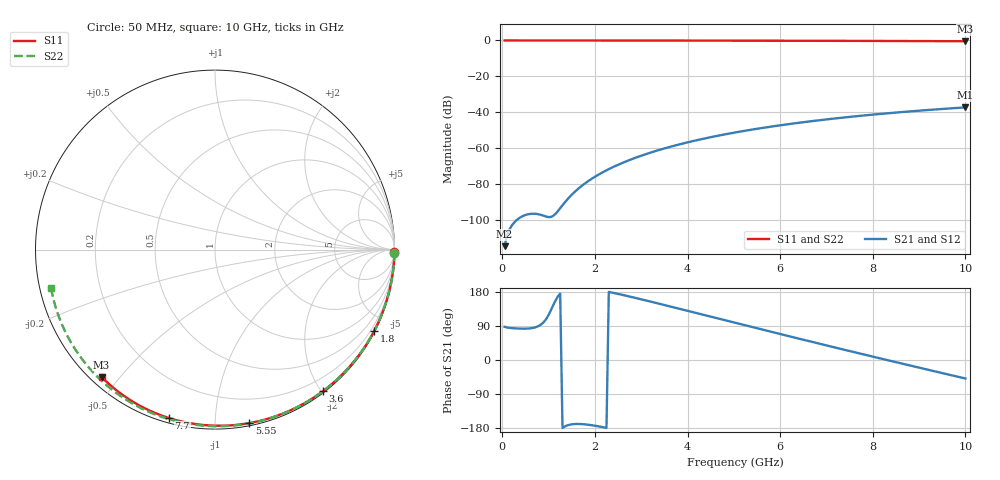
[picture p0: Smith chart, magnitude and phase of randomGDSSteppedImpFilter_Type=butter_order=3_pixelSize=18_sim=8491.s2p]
! freq	dB(S11)	phase(S11)	dB(S12)	phase(S12)
!  dB(S21)	phase(S21)	dB(S22)	phase(S22)
!S-par simulation data
#  GHz  S  DB  R 50
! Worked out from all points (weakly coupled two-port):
!   200 points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, 50 MHz to 10 GHz, reference 50 ohm
!   highest |S21| = -37.34 dB at 10 GHz (marker M1); lowest = -114.7 dB at 50 MHz (marker M2)
!   lowest |S11| = -0.4 dB at 10 GHz (marker M3), VSWR 39.16, Z = 1.53 - j22.4 ohm
!   |S11| at or under -10 dB: nowhere
!   |S22| runs from -0.6 to 0.0 dB; largest |S21 - S12| = 0
!   S11 on the Smith chart (normalised r, x): 50 MHz: open; 1.8 GHz: 0.04, -4.17; 3.6 GHz: 0.02, -2.01; 5.55 GHz: 0.02, -1.22; 7.7 GHz: 0.02, -0.76; 10 GHz: 0.03, -0.45
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0.05  -0.00 -0.8  -114.74 87.6  -114.74 87.6  -0.00 -1.0
0.45  -0.01 -6.8  -97.87 82.7  -97.87 82.7  -0.01 -8.7
0.85  -0.02 -12.9  -97.41 94.9  -97.41 94.9  -0.02 -16.3
1.3  -0.02 -19.6  -91.90 -179.3  -91.90 -179.3  -0.03 -24.8
1.75  -0.03 -26.3  -80.42 -169.4  -80.42 -169.4  -0.04 -33.2
1.8  -0.03 -27.0  -79.46 -170.0  -79.46 -170.0  -0.04 -34.2
1.95  -0.04 -29.2  -76.84 -172.4  -76.84 -172.4  -0.05 -36.9
2.1  -0.04 -31.4  -74.51 -175.5  -74.51 -175.5  -0.05 -39.7
2.3  -0.04 -34.3  -71.77 179.7  -71.77 179.7  -0.06 -43.3
2.5  -0.05 -37.2  -69.35 174.4  -69.35 174.4  -0.06 -47.0
2.9  -0.06 -42.9  -65.20 163.1  -65.20 163.1  -0.07 -54.1
3.4  -0.07 -50.0  -60.97 148.2  -60.97 148.2  -0.08 -62.9
3.6  -0.07 -52.8  -59.50 142.2  -59.50 142.2  -0.09 -66.4
4.3  -0.09 -62.4  -55.06 120.7  -55.06 120.7  -0.11 -78.3
5.05  -0.11 -72.4  -51.22 97.6  -51.22 97.6  -0.14 -90.6
5.55  -0.13 -78.8  -49.06 82.3  -49.06 82.3  -0.16 -98.6
6.1  -0.15 -85.8  -46.96 65.5  -46.96 65.5  -0.19 -107.2
6.7  -0.18 -93.2  -44.95 47.4  -44.95 47.4  -0.23 -116.4
7.7  -0.24 -105.3  -42.11 17.7  -42.11 17.7  -0.30 -131.6
8.35  -0.29 -112.9  -40.55 -1.3  -40.55 -1.3  -0.36 -141.4
9.2  -0.36 -122.6  -38.77 -25.9  -38.77 -25.9  -0.45 -154.2
10  -0.44 -131.7  -37.34 -48.8  -37.34 -48.8  -0.55 -166.6
